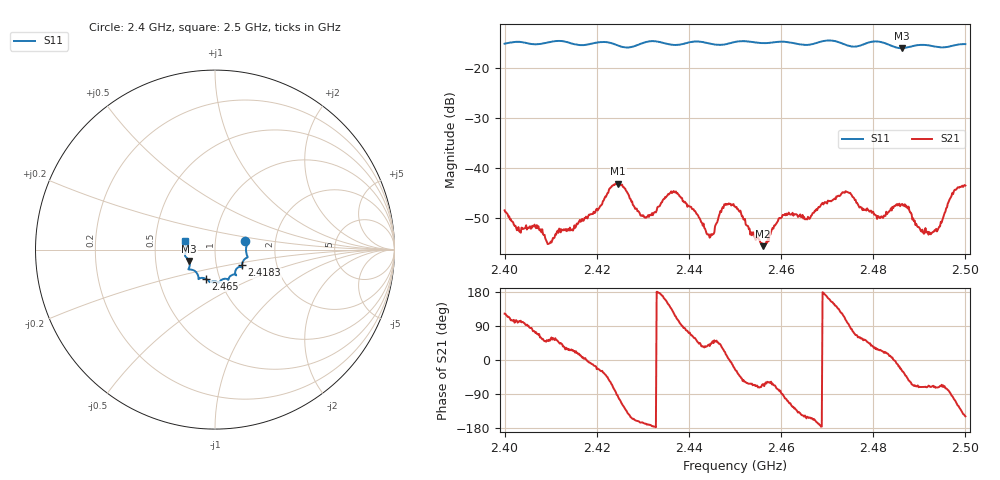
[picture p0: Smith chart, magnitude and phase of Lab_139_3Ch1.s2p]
# Hz S RI R 50
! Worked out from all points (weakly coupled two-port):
!   601 points, 2.4 GHz to 2.5 GHz, reference 50 ohm
!   highest |S21| = -43.11 dB at 2.4247 GHz (marker M1); lowest = -55.6 dB at 2.456 GHz (marker M2)
!   lowest |S11| = -16.0 dB at 2.4862 GHz (marker M3), VSWR 1.37, Z = 37.1 - j4.81 ohm
!   |S11| at or under -10 dB: start of sweep to end of sweep
!   S12 and S22 are empty: the file has one direction only
!   S11 on the Smith chart (normalised r, x): 2.4 GHz: 1.40, +0.13; 2.4183 GHz: 1.33, -0.24; 2.465 GHz: 0.86, -0.29; 2.5 GHz: 0.71, +0.07
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2.4e9  0.1689 0.0458  -0.00202 0.00319  0 0  0 0
2.409667e9  0.1783 -0.0326  0.00105 0.00142  0 0  0 0
2.416667e9  0.1548 -0.0684  0.00296 0.000486  0 0  0 0
2.418333e9  0.1499 -0.0868  0.0034 -0.000394  0 0  0 0
2.424667e9  0.1375 -0.0961  -0.001 -0.00692  0 0  0 0
2.43e9  0.1136 -0.1369  -0.00327 -0.000865  0 0  0 0
2.433333e9  0.1167 -0.1411  -0.00411 0.00014  0 0  0 0
2.437167e9  0.0888 -0.1451  -0.00245 0.0053  0 0  0 0
2.4445e9  0.0651 -0.1632  0.00161 0.00121  0 0  0 0
2.447667e9  0.0379 -0.1678  0.004 0.00168  0 0  0 0
2.45e9  0.025 -0.1806  0.00376 -0.00172  0 0  0 0
2.456e9  -0.000906 -0.1775  0.000727 -0.00149  0 0  0 0
2.460667e9  -0.0296 -0.181  -0.000395 -0.00337  0 0  0 0
2.465e9  -0.0528 -0.1621  -0.0028 -0.00165  0 0  0 0
2.466667e9  -0.0712 -0.1576  -0.00302 -0.00151  0 0  0 0
2.473833e9  -0.0945 -0.1439  -0.00202 0.0053  0 0  0 0
2.481e9  -0.1481 -0.1095  0.00292 0.00158  0 0  0 0
2.483333e9  -0.1423 -0.0958  0.00352 0.000889  0 0  0 0
2.486167e9  -0.1446 -0.0633  0.00389 -0.00197  0 0  0 0
2.4925e9  -0.1653 -0.0239  0.000704 -0.00206  0 0  0 0
2.4975e9  -0.1653 0.0318  -0.00131 -0.00573  0 0  0 0
2.5e9  -0.1668 0.0472  -0.00571 -0.00348  0 0  0 0
